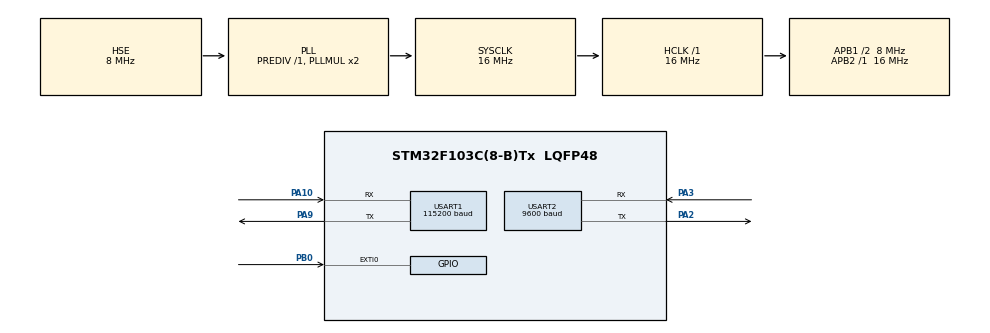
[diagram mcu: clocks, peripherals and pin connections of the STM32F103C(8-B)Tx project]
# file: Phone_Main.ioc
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FREERTOS.Tasks01=defaultTask,0,128,StartDefaultTask,Default,NULL,Dynamic,NULL,NULL
Mcu.Family=STM32F1
Mcu.Name=STM32F103C(8-B)Tx
Mcu.Package=LQFP48
NVIC.EXTI0_IRQn=true\:5\:0\:false\:false\:true\:true\:true\:true
NVIC.PriorityGroup=NVIC_PRIORITYGROUP_4
NVIC.TIM1_UP_IRQn=true\:0\:0\:false\:false\:true\:false\:false\:true
NVIC.TimeBase=TIM1_UP_IRQn
NVIC.TimeBaseIP=TIM1
NVIC.USART2_IRQn=true\:5\:0\:false\:false\:true\:true\:true\:true
PA10.Mode=Asynchronous
PA10.Signal=USART1_RX
PA13.Mode=Serial_Wire
PA13.Signal=SYS_JTMS-SWDIO
PA14.Mode=Serial_Wire
PA14.Signal=SYS_JTCK-SWCLK
PA2.Mode=Asynchronous
PA2.Signal=USART2_TX
PA3.Mode=Asynchronous
PA3.Signal=USART2_RX
PA9.Mode=Asynchronous
PA9.Signal=USART1_TX
PB0.Signal=GPXTI0
PD0-OSC_IN.Mode=HSE-External-Oscillator
PD0-OSC_IN.Signal=RCC_OSC_IN
PD1-OSC_OUT.Mode=HSE-External-Oscillator
PD1-OSC_OUT.Signal=RCC_OSC_OUT
ProjectManager.HeapSize=0x1000
ProjectManager.StackSize=0x400
ProjectManager.TargetToolchain=STM32CubeIDE
RCC.AHBFreq_Value=16000000
RCC.APB1CLKDivider=RCC_HCLK_DIV2
RCC.APB1Freq_Value=8000000
RCC.APB1TimFreq_Value=16000000
RCC.APB2Freq_Value=16000000
RCC.APB2TimFreq_Value=16000000
RCC.HCLKFreq_Value=16000000
RCC.PLLSourceVirtual=RCC_PLLSOURCE_HSE
RCC.SYSCLKFreq_VALUE=16000000
RCC.SYSCLKSource=RCC_SYSCLKSOURCE_PLLCLK
RCC.USBFreq_Value=16000000
USART1.BaudRate=115200
USART1.VirtualMode=VM_ASYNC
USART2.BaudRate=9600
USART2.VirtualMode=VM_ASYNC
VP_FREERTOS_VS_CMSIS_V1.Mode=CMSIS_V1
VP_SYS_VS_tim1.Mode=TIM1
board=custom

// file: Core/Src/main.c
/* USER CODE BEGIN Header */
/**
  ******************************************************************************
  * @file           : main.c
  * @brief          : Main program body
  ******************************************************************************
  * @attention
  *
  * <h2><center>&copy; Copyright (c) 2020 STMicroelectronics.
  * All rights reserved.</center></h2>
  *
  * This software component is licensed by ST under BSD 3-Clause license,
  * the "License"; You may not use this file except in compliance with the
  * License. You may obtain a copy of the License at:
  *                        opensource.org/licenses/BSD-3-Clause
  *
  ******************************************************************************
  */
/* USER CODE END Header */
#include "main.h"
#include "FreeRTOS.h"
#include "task.h"
#include "timers.h"
#include "queue.h"
#include "semphr.h"
#include "event_groups.h"
#include "stdio.h"
#include "stdlib.h"
#include "string.h"
#include "call_process.h"
#include "phone_state.h"
#include "sms_process.h"

UART_HandleTypeDef huart1;
UART_HandleTypeDef huart2;

xTaskHandle display_uart_task;
xTaskHandle call_task;
xTaskHandle sms_task;
xTaskHandle interrupt_task;

//SemaphoreHandle_t listen_mutex = NULL;

/* USER CODE BEGIN PV */
#define GSM_UART		&huart1
#define DISPLAY_UART	&huart2
typedef uint8_t			bool;
#define TRUE			1
#define FALSE			0
#define RX_SIZE			256
int interruptHandle = 0;
/* USER CODE END PV */

void SystemClock_Config(void);
static void MX_GPIO_Init(void);
static void MX_USART1_UART_Init(void);
static void MX_USART2_UART_Init(void);

void display_uart_task_func(void *arg);
void call_task_func(void *arg);
void message_task_func(void *arg);
void interrupt_task_func(void *arg);
void parse_display_request();
void call_detected();
void sms_detected();
int release = 0;

/* USER CODE BEGIN 0 */
char display_rx[RX_SIZE] = {0};
int display_rx_index = 0;
char sms_task_data[RX_SIZE] = {0};
char call_task_data[RX_SIZE] = {0};
char at_response[RX_SIZE] = {0};

bool display_rec_flag = FALSE;
te_call_state CALL_STATE = NO_CALL;
te_call_type CALL_TYPE;
te_phone_state PHONE_STATE = IDLE;
te_sms_state SMS_STATE = NO_SMS;
ts_phonebook_entry phonebook[20];
ts_rec_message messages[20];
int phonebook_index = 0;
int sim_message_index = 0;
int running_message_index = 0;
void HAL_UART_RxCpltCallback(UART_HandleTypeDef *huart)
{
	if(display_rx[display_rx_index] == '\n')
	{
		display_rec_flag = TRUE;
		display_rx_index = 0;
		HAL_UART_Receive_IT(DISPLAY_UART, (uint8_t*)&display_rx[display_rx_index], 1);
	}
	else
	{
		display_rx_index++;
		HAL_UART_Receive_IT(DISPLAY_UART, (uint8_t*)&display_rx[display_rx_index], 1);
	}

}
/* USER CODE END 0 */

int main(void)
{

	/* MCU Configuration--------------------------------------------------------*/

	/* Reset of all peripherals, Initializes the Flash interface and the Systick. */
	HAL_Init();

	/* USER CODE BEGIN Init */
	MX_GPIO_Init();
	/* USER CODE END Init */

	/* Configure the system clock */
	SystemClock_Config();

	/* Initialize all configured peripherals */
	MX_GPIO_Init();
	MX_USART1_UART_Init();
	MX_USART2_UART_Init();

	char close_echo[] = "ATE0\r\n";
	char ringtone[] = "AT+CALS=10\r\n";
	char text_mode[] = "AT+CMGF=1\r\n";
	char message_buf[176] = {0};
	char response[256] = {0};
	char get_entry[64] = {0};
	char *p1;
	char *p2;
	int index = 0;
	int done = 0;
	HAL_UART_Transmit(GSM_UART, (uint8_t*)&close_echo[0], strlen(close_echo), 200);
	HAL_UART_Receive(GSM_UART, (uint8_t*)&response[0], sizeof(response), 400);
	HAL_UART_Transmit(GSM_UART, (uint8_t*)&ringtone[0], strlen(ringtone), 200);
	HAL_UART_Receive(GSM_UART, (uint8_t*)&response[0], sizeof(response), 400);
	HAL_UART_Transmit(GSM_UART, (uint8_t*)&text_mode[0], strlen(text_mode), 200);
	HAL_UART_Receive(GSM_UART, (uint8_t*)&response[0], sizeof(response), 400);

	memset(response, 0, sizeof(response));
	for(int i = 1; i < 20; i++)
	{
		sprintf(get_entry, "AT+CPBR=%d\r\n", i);
		HAL_UART_Transmit(GSM_UART, (uint8_t*)&get_entry[0], strlen(get_entry), 200);
		HAL_UART_Receive(GSM_UART, (uint8_t*)&response[0], sizeof(response), 400);
		if(strcmp(response, "\r\nOK\r\n") == 0)
			break;
		p1 = strstr(response, "\"");
		p1++;
		if(p1)
		  p2 = strstr(p1,"\"");
		while(p1 != p2)
		{
		  phonebook[i-1].number[index++] = *p1;
		  p1++;
		}
		p2++;
		p1 = strstr(p2, "\"");
		p1++;
		if(p1)
		  p2 = strstr(p1,"\"");
		index = 0;
		while(p1 != p2)
		{
		  phonebook[i-1].name[index++] = *p1;
		  p1++;
		}
		memset(response, 0, sizeof(response));
		index = 0;
		phonebook_index++;
	}
	index = 0;
	for(int i = 1; i < 251; i++)
	{
		sprintf(get_entry, "AT+CMGR=%d\r\n", sim_message_index+1);
		HAL_UART_Transmit(GSM_UART, (uint8_t*)&get_entry[0], strlen(get_entry), 200);
		HAL_UART_Receive(GSM_UART, (uint8_t*)&message_buf[0], sizeof(message_buf), 1000);
		if(strcmp(message_buf, "\r\nOK\r\n") == 0)
		{
			break;
		}
		memset(&messages[running_message_index], 0, sizeof(ts_rec_message));
		p1 = strstr(message_buf, "\"+");
		p1++;
		if(p1)
		  p2 = strstr(p1,"\"");
		while(p1 != p2)
		{
		  messages[running_message_index].sender[index++] = *p1;
		  p1++;
		}
		p2++;
		p1 = strstr(p2, "\n");
		p1++;
		if(p1)
		  p2 = strstr(p1,"\r");
		index = 0;
		while(p1 != p2)
		{
		  messages[running_message_index].message[index++] = *p1;
		  p1++;
		}
		memset(message_buf, 0, sizeof(message_buf));
		index = 0;
		sim_message_index++;
		running_message_index++;
		if(running_message_index == 20)
		{
			running_message_index = 0;
		}
	}
	if(xTaskCreate(display_uart_task_func, "display_uart", 384, NULL, 3, &display_uart_task) != pdPASS)
	{
		__NOP();
	}
	if(xTaskCreate(message_task_func, "sms_task", 256, NULL, 3, &sms_task) != pdPASS)
	{
		__NOP();
	}

	if(xTaskCreate(call_task_func, "call_task", 256, NULL, 7, &call_task) != pdPASS)
	{
		__NOP();
	}

	if(xTaskCreate(interrupt_task_func, "interrupt_task", 256, NULL, 7, &interrupt_task) != pdPASS)
	{
		__NOP();
	}
	char ready[]="main_page.t0.txt=\"Phone is ready!\"\xFF\xFF\xFF";
	char start_time[]="main_page.tm0.en=1\xFF\xFF\xFF";
	HAL_UART_Transmit(DISPLAY_UART, (uint8_t*)ready, strlen(ready), 200);
	HAL_UART_Transmit(DISPLAY_UART, (uint8_t*)start_time, strlen(start_time), 200);
	vTaskStartScheduler();

}

void SystemClock_Config(void)
{
  RCC_OscInitTypeDef RCC_OscInitStruct = {0};
  RCC_ClkInitTypeDef RCC_ClkInitStruct = {0};

  /** Initializes the RCC Oscillators according to the specified parameters
  * in the RCC_OscInitTypeDef structure.
  */
  RCC_OscInitStruct.OscillatorType = RCC_OSCILLATORTYPE_HSE;
  RCC_OscInitStruct.HSEState = RCC_HSE_ON;
  RCC_OscInitStruct.HSEPredivValue = RCC_HSE_PREDIV_DIV1;
  RCC_OscInitStruct.HSIState = RCC_HSI_ON;
  RCC_OscInitStruct.PLL.PLLState = RCC_PLL_ON;
  RCC_OscInitStruct.PLL.PLLSource = RCC_PLLSOURCE_HSE;
  RCC_OscInitStruct.PLL.PLLMUL = RCC_PLL_MUL2;
  if (HAL_RCC_OscConfig(&RCC_OscInitStruct) != HAL_OK)
  {
    Error_Handler();
  }
  /** Initializes the CPU, AHB and APB buses clocks
  */
  RCC_ClkInitStruct.ClockType = RCC_CLOCKTYPE_HCLK|RCC_CLOCKTYPE_SYSCLK
                              |RCC_CLOCKTYPE_PCLK1|RCC_CLOCKTYPE_PCLK2;
  RCC_ClkInitStruct.SYSCLKSource = RCC_SYSCLKSOURCE_PLLCLK;
  RCC_ClkInitStruct.AHBCLKDivider = RCC_SYSCLK_DIV1;
  RCC_ClkInitStruct.APB1CLKDivider = RCC_HCLK_DIV2;
  RCC_ClkInitStruct.APB2CLKDivider = RCC_HCLK_DIV1;

  if (HAL_RCC_ClockConfig(&RCC_ClkInitStruct, FLASH_LATENCY_0) != HAL_OK)
  {
    Error_Handler();
  }
}

static void MX_USART1_UART_Init(void)
{

  huart1.Instance = USART1;
  huart1.Init.BaudRate = 115200;
  huart1.Init.WordLength = UART_WORDLENGTH_8B;
  huart1.Init.StopBits = UART_STOPBITS_1;
  huart1.Init.Parity = UART_PARITY_NONE;
  huart1.Init.Mode = UART_MODE_TX_RX;
  huart1.Init.HwFlowCtl = UART_HWCONTROL_NONE;
  huart1.Init.OverSampling = UART_OVERSAMPLING_16;
  if (HAL_UART_Init(&huart1) != HAL_OK)
  {
    Error_Handler();
  }

}

static void MX_USART2_UART_Init(void)
{

  huart2.Instance = USART2;
  huart2.Init.BaudRate = 9600;
  huart2.Init.WordLength = UART_WORDLENGTH_8B;
  huart2.Init.StopBits = UART_STOPBITS_1;
  huart2.Init.Parity = UART_PARITY_NONE;
  huart2.Init.Mode = UART_MODE_TX_RX;
  huart2.Init.HwFlowCtl = UART_HWCONTROL_NONE;
  huart2.Init.OverSampling = UART_OVERSAMPLING_16;
  if (HAL_UART_Init(&huart2) != HAL_OK)
  {
    Error_Handler();
  }

}

static void MX_GPIO_Init(void)
{
  GPIO_InitTypeDef GPIO_InitStruct = {0};

  /* GPIO Ports Clock Enable */
  __HAL_RCC_GPIOD_CLK_ENABLE();
  __HAL_RCC_GPIOA_CLK_ENABLE();
  __HAL_RCC_GPIOB_CLK_ENABLE();

  /*Configure GPIO pin : PB0 */
  GPIO_InitStruct.Pin = GPIO_PIN_0;
  GPIO_InitStruct.Mode = GPIO_MODE_IT_FALLING;
  GPIO_InitStruct.Pull = GPIO_NOPULL;
  HAL_GPIO_Init(GPIOB, &GPIO_InitStruct);

  /* EXTI interrupt init*/
  HAL_NVIC_SetPriority(EXTI0_IRQn, 0, 0);
  HAL_NVIC_EnableIRQ(EXTI0_IRQn);

}

void show_subscriber_with_index(int index)
{
	char name[64] = {0};
	char number[64] = {0};
	char active_button1[] = "vis b2,1\xFF\xFF\xFF";
	char active_button2[] = "vis b3,1\xFF\xFF\xFF";
	if(index < phonebook_index)
	{
		sprintf(name, "call_main_page.t0.txt=\"%s\"\xFF\xFF\xFF", phonebook[index].name);
		sprintf(number, "call_main_page.t1.txt=\"%s\"\xFF\xFF\xFF", phonebook[index].number);
	}
	else
	{
		sprintf(name, "call_main_page.t0.txt=\"%s\"\xFF\xFF\xFF", "empty");
		sprintf(number, "call_main_page.t1.txt=\"%s\"\xFF\xFF\xFF",  "empty");
	}
	HAL_UART_Transmit(DISPLAY_UART, (uint8_t*)name, strlen(name), 200);
	HAL_UART_Transmit(DISPLAY_UART, (uint8_t*)number, strlen(number), 200);
	HAL_UART_Transmit(DISPLAY_UART, (uint8_t*)active_button1, strlen(active_button1), 100);
	HAL_UART_Transmit(DISPLAY_UART, (uint8_t*)active_button2, strlen(active_button2), 100);
}

void add_subscriber(char *data)
{
	char *name = strtok(data, ">");
	char *number = strtok(NULL, ">");
	number[strlen(number)-1] = '\0';
	char sim_write_command[64] = {0};
	sprintf(sim_write_command, "AT+CPBW=,\"%s\",145,\"%s\"\r\n", number, name);
	strcpy(phonebook[phonebook_index].name, name);
	strcpy(phonebook[phonebook_index].number, number);
	HAL_UART_Transmit(GSM_UART, (uint8_t*)sim_write_command, strlen(sim_write_command), 400);
	phonebook_index++;
}

void show_text_message_index(int index)
{
	index = running_message_index-1-index;
	if(index < 0)
		index += 20;
	char sender[64] = {0};
	char message[128];
	char visible_buton_1[] = "vis b1,1\xFF\xFF\xFF";
	char visible_buton_0[] = "vis b0,1\xFF\xFF\xFF";
	char visible_buton_3[] = "vis b3,1\xFF\xFF\xFF";
	sprintf(sender, "messages.t0.txt=\"%s\"\xFF\xFF\xFF", messages[index].sender);
	sprintf(message, "messages.t1.txt=\"%s\"\xFF\xFF\xFF", messages[index].message);
	HAL_UART_Transmit(DISPLAY_UART, (uint8_t*)sender, strlen(sender), 200);
	HAL_UART_Transmit(DISPLAY_UART, (uint8_t*)message, strlen(message), 400);
	HAL_UART_Transmit(DISPLAY_UART, (uint8_t*)visible_buton_1, strlen(visible_buton_1), 100);
	HAL_UART_Transmit(DISPLAY_UART, (uint8_t*)visible_buton_0, strlen(visible_buton_0), 100);
	HAL_UART_Transmit(DISPLAY_UART, (uint8_t*)visible_buton_3, strlen(visible_buton_3), 100);
}

void send_date_and_time()
{
	char date_command[] = "AT+CCLK?\r\n";
	char response[64] = {0};
	char command[32] = {0};
	char *p1, *p2;
	int index = 0;
	int hour,minute,second,day,month,year;
	HAL_UART_Transmit(GSM_UART, (uint8_t*)date_command, strlen(date_command), 200);
	HAL_UART_Receive(GSM_UART, (uint8_t*)&at_response[0], sizeof(at_response), 400);
	p1 = strstr(at_response, "\"");
	p1++;
	if(p1)
	  p2 = strstr(p1,"\"");
	while(p1 != p2)
	{
	  response[index++] = *p1;
	  p1++;
	}
	sscanf(response,"%d/%d/%d,%d:%d:%d", &year, &month, &day, &hour, &minute, &second);
	year += 2000;
	sprintf(command, "main_page.n5.val=%d\xFF\xFF\xFF", second);
	HAL_UART_Transmit(DISPLAY_UART, (uint8_t*)command, strlen(command), 200);
	sprintf(command, "main_page.n1.val=%d\xFF\xFF\xFF", minute);
	HAL_UART_Transmit(DISPLAY_UART, (uint8_t*)command, strlen(command), 200);
	sprintf(command, "main_page.n0.val=%d\xFF\xFF\xFF", hour);
	HAL_UART_Transmit(DISPLAY_UART, (uint8_t*)command, strlen(command), 200);
	sprintf(command, "main_page.n2.val=%d\xFF\xFF\xFF", day);
	HAL_UART_Transmit(DISPLAY_UART, (uint8_t*)command, strlen(command), 200);
	sprintf(command, "main_page.n3.val=%d\xFF\xFF\xFF", month);
	HAL_UART_Transmit(DISPLAY_UART, (uint8_t*)command, strlen(command), 200);
	sprintf(command, "main_page.n4.val=%d\xFF\xFF\xFF", year);
	HAL_UART_Transmit(DISPLAY_UART, (uint8_t*)command, strlen(command), 200);
}

void parse_display_request()
{
	if((display_rx[1] == 0x01 && display_rx[2] == 0x10) || (display_rx[1] == 0x05 && display_rx[2] == 0x05)) //call
	{
		memcpy(call_task_data, display_rx, RX_SIZE);
		PHONE_STATE = BUSY;
		CALL_TYPE = MO;
		CALL_STATE = INITIATE_CALL;
	}
	else if((display_rx[1] == 0x03 && display_rx[2] == 0x02) || (display_rx[1] == 0x04 && display_rx[2] == 0x02)) //Terminate call by user
	{
		CALL_STATE = TERMINATE_CALL;
	}
	else if(display_rx[1] == 0x04 && display_rx[2] == 0x03) //Terminate call by user
	{
		CALL_STATE = ACCEPT_CALL;
	}
	else if((display_rx[1] == 0x06 && display_rx[2] == 0x03)) //Add subscriber to phone book
	{
		add_subscriber(&display_rx[7]);
	}
	else if((display_rx[1] == 0x05 && display_rx[2] == 0x06) || (display_rx[1] == 0x05 && display_rx[2] == 0x03) //Get phonebook entry
			|| (display_rx[1] == 0x05 && display_rx[2] == 0x07))
	{
		show_subscriber_with_index(display_rx[7]);
	}
	else if(display_rx[1] == 0x02 && display_rx[2] == 0x37)//Send sms
	{
		memcpy(sms_task_data, display_rx, RX_SIZE);
		SMS_STATE = SEND_SMS;
	}
	else if((display_rx[1] == 0x09 && display_rx[2] == 0x02) || (display_rx[1] == 0x09 && display_rx[2] == 0x03) //Get message
			|| (display_rx[1] == 0x08 && display_rx[2] == 0x03) || (display_rx[1] == 0x00 && display_rx[2] == 0x06))
	{
		show_text_message_index(display_rx[7]);
	}
	else if(display_rx[1] == 0x00 && display_rx[2] == 0x12)//Send time
	{
		send_date_and_time();
	}
	memset(display_rx, 0, RX_SIZE);
}

void interrupt_task_func(void *arg)
{
	char phone_state[] = "AT+CPAS\r\n";
	while(1)
	{
		if(interruptHandle)
		{
			interruptHandle = 0;
			HAL_UART_Transmit(GSM_UART, (uint8_t*)phone_state, strlen(phone_state), 200);
			HAL_UART_Receive(GSM_UART, (uint8_t*)&at_response[0], sizeof(at_response), 500);
			if(at_response[10] == '3')
			{
				call_detected();
			}
			else if(at_response[10] == '0')
			{
				sms_detected();
			}
			HAL_NVIC_EnableIRQ(EXTI0_IRQn);
		}
		else
			vTaskDelay(500 / portTICK_PERIOD_MS);
	}
}

void display_uart_task_func(void *argument)
{
	HAL_UART_Receive_IT(DISPLAY_UART, (uint8_t*)&display_rx[display_rx_index], 1);
	while(1)
	{
		if(display_rec_flag)
		{
			display_rec_flag = FALSE;
			parse_display_request();
		}
		else
			vTaskDelay(500 / portTICK_PERIOD_MS);
	}
}

void message_task_func(void *argument)
{
	char text_mod[] = "AT+CMGF=1\r\n";
	char sender_command[64] = {0};
	char message_command[160] = {0};
	char *number;
	char *message;
	while(1)
	{
		switch (SMS_STATE) {
			case SEND_SMS:
				memset(at_response, 0, RX_SIZE);
				number = strtok(&sms_task_data[7], ">");
				message = strtok(NULL, ">");
				sprintf(&sender_command[0], "AT+CMGS=\"%s\"\r\n", number);
				sprintf(&message_command[0], "%s", message);
				message_command[strlen(message_command)-1] = 26;
				HAL_UART_Transmit(GSM_UART, (uint8_t*)text_mod, strlen(text_mod), 400);
				HAL_UART_Receive(GSM_UART, (uint8_t*)&at_response[0], sizeof(at_response), 400);
				HAL_UART_Transmit(GSM_UART, (uint8_t*)sender_command, strlen(sender_command), 400);
				HAL_UART_Receive(GSM_UART, (uint8_t*)&at_response[0], sizeof(at_response), 400);
				HAL_UART_Transmit(GSM_UART, (uint8_t*)message_command, strlen(sender_command), 400);
				HAL_UART_Receive(GSM_UART, (uint8_t*)&at_response[0], sizeof(at_response), 400);
				SMS_STATE = COMPLETED_SMS;
			break;
			case COMPLETED_SMS:
				memset(sms_task_data, 0, RX_SIZE);
				SMS_STATE = NO_SMS;
			break;
			case NO_SMS:
				vTaskDelay(500 / portTICK_PERIOD_MS);
			break;
			default:
			break;
		}
	}
}

void call_task_func(void *argument)
{
	char custom_command[64] = {0};
	char check_status[] = "AT+CLCC\r\n";
	char terminate_call[] = "ATH0\r\n";
	char send_call_end[] = "call_progress.t1.txt=\"Call Ended!\"\xFF\xFF\xFF";
	char send_call_start[] = "call_progress.t1.txt=\"Call Active!!\"\xFF\xFF\xFF";
	char start_page_timer[] = "call_progress.tm0.en=1\xFF\xFF\xFF";
	char send_call_start_incoming[] = "incoming_call.t2.txt=\"Call Active!\"\xFF\xFF\xFF";
	char send_call_end_incoming[] = "incoming_call.t2.txt=\"Call Ended!\"\xFF\xFF\xFF";
	char answer_call[] = "ATA\r\n";
	char incoming_page[] = "page incoming_call\xFF\xFF\xFF";
	char start_page_timer_incoming[] = "incoming_call.tm0.en=1\xFF\xFF\xFF";
	while(1)
	{
		switch(CALL_STATE)
		{
			case INITIATE_CALL:
				memset(at_response, 0, RX_SIZE);
				call_task_data[strlen(call_task_data)-1] = '\0';
				if(CALL_TYPE == MO)
				{
					sprintf(&custom_command[0], "ATD+%si;\r\n", &call_task_data[8]);
					HAL_UART_Transmit(GSM_UART, (uint8_t*)&custom_command[0], strlen(custom_command), 500);
					HAL_UART_Receive(GSM_UART, (uint8_t*)&at_response[0], sizeof(at_response), 5000);
					if(strstr(at_response,"OK") != NULL && (at_response[2] == 'O' || at_response[3] == 'O'))
						CALL_STATE = DIALING;
					else
						CALL_STATE = TERMINATE_CALL;
				}
				else if(CALL_TYPE == MT)
				{
					sprintf(custom_command, "incoming_call.t0.txt=\"%s\"\xFF\xFF\xFF", call_task_data);
					HAL_UART_Transmit(DISPLAY_UART, (uint8_t*)incoming_page, strlen(incoming_page), 300);
					HAL_UART_Transmit(DISPLAY_UART, (uint8_t*)custom_command, strlen(custom_command), 300);
					CALL_STATE = CHECK_CALL_STATE;
				}
			break;
			case DIALING:
				memset(at_response, 0, RX_SIZE);
				HAL_UART_Transmit(GSM_UART, (uint8_t*)check_status, strlen(check_status), 200);
				HAL_UART_Receive(GSM_UART, (uint8_t*)&at_response[0], sizeof(at_response), 400);
				if(strstr(at_response,"1,0,0") != NULL)
				{
					CALL_STATE = CHECK_CALL_STATE;
					HAL_UART_Transmit(DISPLAY_UART, (uint8_t*)send_call_start, strlen(send_call_start), 300);
				}
				else if(strstr(at_response,"OK") != NULL && (at_response[2] == 'O' || at_response[3] == 'O'))
					CALL_STATE = TERMINATE_CALL;
			break;
			case ACCEPT_CALL:
				HAL_UART_Transmit(DISPLAY_UART, (uint8_t*)send_call_start_incoming, strlen(send_call_start_incoming), 300);
				HAL_UART_Transmit(GSM_UART, (uint8_t*)answer_call, strlen(answer_call), 300);
				CALL_STATE = CHECK_CALL_STATE;
			break;
			case CHECK_CALL_STATE:
				memset(at_response, 0, RX_SIZE);
				HAL_UART_Transmit(GSM_UART, (uint8_t*)check_status, strlen(check_status), 200);
				HAL_UART_Receive(GSM_UART, (uint8_t*)&at_response[0], sizeof(at_response), 400);
				if(CALL_TYPE == MT && ((strstr(at_response,"1,1") == NULL) || (strstr(at_response,"1,1") == NULL)))
					CALL_STATE = TERMINATE_CALL;
				else if(CALL_TYPE == MO && strstr(at_response,"1,0,0") == NULL)
					CALL_STATE = TERMINATE_CALL;

				vTaskDelay(500 / portTICK_PERIOD_MS);
			break;
			case TERMINATE_CALL:
				memset(at_response, 0, RX_SIZE);
				HAL_UART_Transmit(GSM_UART, (uint8_t*)terminate_call, strlen(terminate_call), 200);
				HAL_UART_Receive(GSM_UART, (uint8_t*)&at_response[0], sizeof(at_response), 400);
				if(CALL_TYPE == MO)
				{
					HAL_UART_Transmit(DISPLAY_UART, (uint8_t*)send_call_end, strlen(send_call_end), 300);
					HAL_UART_Transmit(DISPLAY_UART, (uint8_t*)start_page_timer, strlen(start_page_timer), 300);
				}
				else if(CALL_TYPE == MT)
				{
					HAL_UART_Transmit(DISPLAY_UART, (uint8_t*)send_call_end_incoming, strlen(send_call_end_incoming), 300);
					HAL_UART_Transmit(DISPLAY_UART, (uint8_t*)start_page_timer_incoming, strlen(start_page_timer_incoming), 300);
				}
				memset(call_task_data, 0, RX_SIZE);
				PHONE_STATE = IDLE;
				CALL_STATE = NO_CALL;
			break;
			case NO_CALL:
				vTaskDelay(500 / portTICK_PERIOD_MS);
			break;
			default:
			break;
		}

	}
}

void call_detected()
{
	char check_call[] = "AT+CLCC\r\n";
	int index;
	char *p1, *p2;
	memset(at_response, 0, sizeof(at_response));
	HAL_UART_Transmit(GSM_UART, (uint8_t*)check_call, strlen(check_call), 200);
	HAL_UART_Receive(GSM_UART, (uint8_t*)&at_response[0], sizeof(at_response), 300);
	if(strstr(at_response, "1,1,4") && PHONE_STATE == IDLE)
	{
		index = 0;
		p1 = strstr(at_response, "\"");
		p1++;
		if(p1)
			p2 = strstr(p1,"\"");
		while(p1 != p2)
		{
			call_task_data[index++] = *p1;
			p1++;
		}
		call_task_data[index] = '\n';
		PHONE_STATE = BUSY;
		CALL_TYPE = MT;
		CALL_STATE = INITIATE_CALL;
	}
}

void sms_detected()
{
	char message_buf[96] = {0};
	char get_entry[20] ={0};
	char new_mess[]="main_page.t1.txt=\"New message! Tap to read!\"\xFF\xFF\xFF";
	char *p1, *p2;
	int index = 0;
	sprintf(get_entry, "AT+CMGR=%d\r\n", sim_message_index+1);
	HAL_UART_Transmit(GSM_UART, (uint8_t*)&get_entry[0], strlen(get_entry), 200);
	HAL_UART_Receive(GSM_UART, (uint8_t*)&message_buf[0], sizeof(message_buf), 1000);
	if(strcmp(message_buf, "\r\nOK\r\n") == 0)
		return;
	p1 = strstr(message_buf, "\"+");
	p1++;
	if(p1)
	  p2 = strstr(p1,"\"");
	while(p1 != p2)
	{
	  messages[running_message_index].sender[index++] = *p1;
	  p1++;
	}
	p2++;
	p1 = strstr(p2, "\n");
	p1++;
	if(p1)
	  p2 = strstr(p1,"\r");
	index = 0;
	while(p1 != p2)
	{
	  messages[running_message_index].message[index++] = *p1;
	  p1++;
	}
	running_message_index++;
	sim_message_index++;
	if(running_message_index == 20)
		running_message_index = 0;
	HAL_UART_Transmit(DISPLAY_UART, (uint8_t*)new_mess, strlen(new_mess), 300);
}

//void listen_module_task_func(void *arg)
//{
//	char check_call[] = "AT+CLCC\r\n";
//	int index;
//	char *p1, *p2;
//	while(1)
//	{
//		if(PHONE_STATE == IDLE)
//		{
//			release = 0;
//			HAL_UART_Transmit(GSM_UART, (uint8_t*)check_call, strlen(check_call), 200);
//			HAL_UART_Receive(GSM_UART, (uint8_t*)&at_response[0], sizeof(at_response), 500);
//			if(at_response[13] == '3')
//			{
//				index = 0;
//				p1 = strstr(at_response, "\"");
//				p1++;
//				if(p1)
//					p2 = strstr(p1,"\"");
//				while(p1 != p2)
//				{
//					call_task_data[index++] = *p1;
//					p1++;
//				}
//				call_task_data[index] = '\n';
//				index = 0;
//				p2++;
//				p1 = strstr(p2, "\"");
//				p1++;
//				if(p1)
//					p2 = strstr(p1,"\"");
//				while(p1 != p2)
//				{
//					call_task_data[index++] = *p1;
//					p1++;
//				}
//				call_task_data[index] = '\n';
//				PHONE_STATE = BUSY;
//				CALL_TYPE = MT;
//				CALL_STATE = INITIATE_CALL;
//			}
//		}
//		else
//		{
//			release = 1;
//		}
//		memset(at_response, 0, RX_SIZE);
//		vTaskDelay(500 / portTICK_PERIOD_MS);
//	}
//}

 /**
  * @brief  Period elapsed callback in non blocking mode
  * @note   This function is called  when TIM1 interrupt took place, inside
  * HAL_TIM_IRQHandler(). It makes a direct call to HAL_IncTick() to increment
  * a global variable "uwTick" used as application time base.
  * @param  htim : TIM handle
  * @retval None
  */
void HAL_TIM_PeriodElapsedCallback(TIM_HandleTypeDef *htim)
{
  if (htim->Instance == TIM1) {
    HAL_IncTick();
  }
}

void Error_Handler(void)
{
  __disable_irq();
  while (1)
  {
  }
}

/************************ (C) COPYRIGHT STMicroelectronics *****END OF FILE****/
